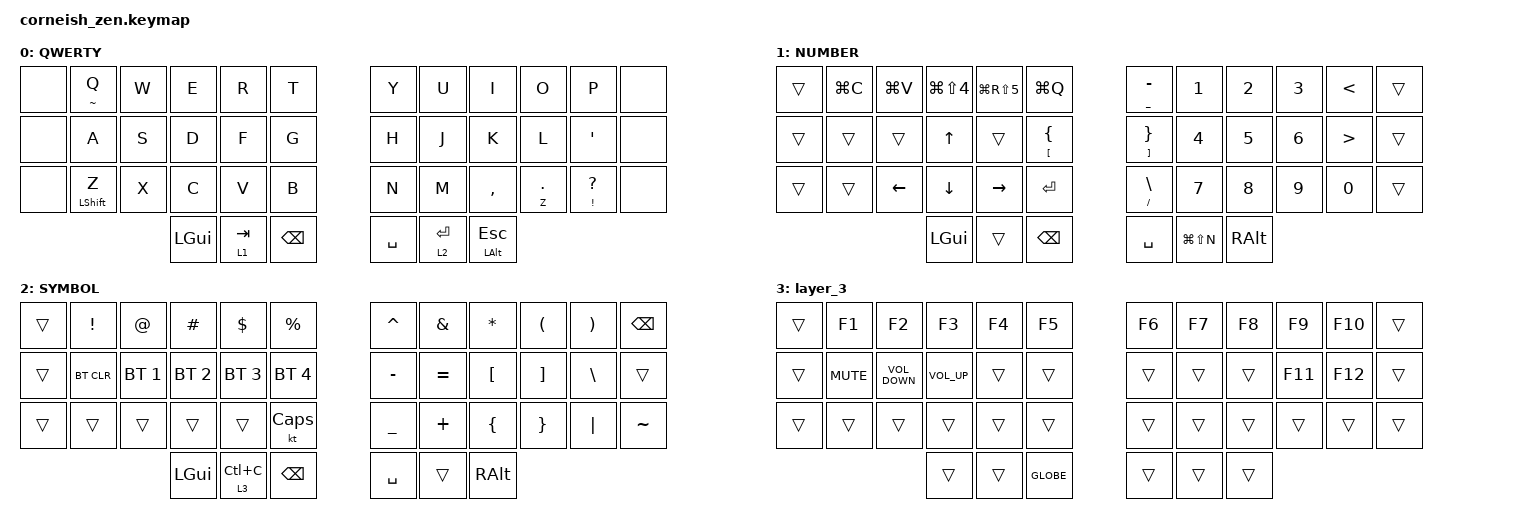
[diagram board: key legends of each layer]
#include <behaviors.dtsi>
#include <dt-bindings/zmk/bt.h>
#include <dt-bindings/zmk/keys.h>

/ {
    chosen {
        zmk,physical-layout = &foostan_corne_6col_layout;

        // zmk,physical-layout = &foostan_corne_5col_layout;
    };
};

/ {
    keymap {
        compatible = "zmk,keymap";

        main_layer {
            display-name = "QWERTY";

            // --------------------------------------------------------------------------------
            // |  TAB |  Q  |  W  |  E  |  R  |  T  |   |  Y  |  U   |  I  |  O  |  P  | BSPC |
            // | CTRL |  A  |  S  |  D  |  F  |  G  |   |  H  |  J   |  K  |  L  |  ;  |  '   |
            // | SHFT |  Z  |  X  |  C  |  V  |  B  |   |  N  |  M   |  ,  |  .  |  /  | ESC  |
            //                    | GUI | LWR | SPC |   | ENT | RSE  | ALT |

            bindings = <
&none  &mt TILDE Q       &kp W  &kp E     &kp R      &kp T            &kp Y      &kp U        &kp I             &kp O      &kp P              &none
&none  &kp A             &kp S  &kp D     &kp F      &kp G            &kp H      &kp J        &kp K             &kp L      &kp APOSTROPHE     &none
&none  &mt LEFT_SHIFT Z  &kp X  &kp C     &kp V      &kp B            &kp N      &kp M        &kp COMMA         &mt Z DOT  &mt EXCL QUESTION  &none
                                &kp LGUI  &lt 1 TAB  &kp BACKSPACE    &kp SPACE  &lt 2 ENTER  &mt LEFT_ALT ESC
            >;
        };

        lower_layer {
            display-name = "NUMBER";

            // -----------------------------------------------------------------------------------------
            // |  TAB |  1  |  2  |  3  |  4  |  5  |   |  6  |  7  |  8  |  9  |  0  | BSPC |
            // | BTCLR| BT1 | BT2 | BT3 | BT4 | BT5 |   | LFT | DWN |  UP | RGT |     |Studio|
            // | SHFT |     |     |     |     |     |   |     |     |     |     |     |      |
            //                    | GUI |     | SPC |   | ENT |     | ALT |

            bindings = <
&trans  &kp LG(C)  &kp LG(V)  &kp LG(LS(NUMBER_4))  &kp LG(RS(N5))  &kp LG(Q)                      &mt UNDER MINUS                &kp NUMBER_1   &kp NUMBER_2  &kp NUMBER_3  &kp LESS_THAN     &trans
&trans  &trans     &trans     &kp UP_ARROW          &trans          &mt LEFT_BRACKET LEFT_BRACE    &mt RIGHT_BRACKET RIGHT_BRACE  &kp NUMBER_4   &kp N5        &kp NUMBER_6  &kp GREATER_THAN  &trans
&trans  &trans     &kp LEFT   &kp DOWN_ARROW        &kp RIGHT       &kp ENTER                      &mt SLASH BACKSLASH            &kp N7         &kp N8        &kp N9        &kp NUMBER_0      &trans
                              &kp LGUI              &trans          &kp BACKSPACE                  &kp SPACE                      &kp LG(LS(N))  &kp RALT
            >;
        };

        raise_layer {
            display-name = "SYMBOL";

            // -----------------------------------------------------------------------------------------
            // |  TAB |  !  |  @  |  #  |  $  |  %  |   |  ^  |  &  |  *  |  (  |  )  | BSPC |
            // | CTRL |     |     |     |     |     |   |  -  |  =  |  [  |  ]  |  \  |  `   |
            // | SHFT |     |     |     |     |     |   |  _  |  +  |  {  |  }  | "|" |  ~   |
            //                    | GUI |     | SPC |   | ENT |     | ALT |

            bindings = <
&trans  &kp EXCL    &kp AT        &kp HASH      &kp DLLR      &kp PRCNT        &kp CARET  &kp AMPS   &kp ASTRK  &kp LPAR  &kp RPAR  &kp BSPC
&trans  &bt BT_CLR  &bt BT_SEL 1  &bt BT_SEL 2  &bt BT_SEL 3  &bt BT_SEL 4     &kp MINUS  &kp EQUAL  &kp LBKT   &kp RBKT  &kp BSLH  &trans
&trans  &trans      &trans        &trans        &trans        &kt CAPSLOCK     &kp UNDER  &kp PLUS   &kp LBRC   &kp RBRC  &kp PIPE  &kp TILDE
                                  &kp LGUI      &lt 3 LC(C)   &kp BACKSPACE    &kp SPACE  &trans     &kp RALT
            >;
        };

        layer_3 {
            bindings = <
&trans  &kp F1      &kp F2             &kp F3           &kp F4  &kp F5       &kp F6  &kp F7  &kp F8  &kp F9   &kp F10  &trans
&trans  &kp K_MUTE  &kp C_VOLUME_DOWN  &kp C_VOLUME_UP  &trans  &trans       &trans  &trans  &trans  &kp F11  &kp F12  &trans
&trans  &trans      &trans             &trans           &trans  &trans       &trans  &trans  &trans  &trans   &trans   &trans
                                       &trans           &trans  &kp GLOBE    &trans  &trans  &trans
            >;
        };
    };
};
